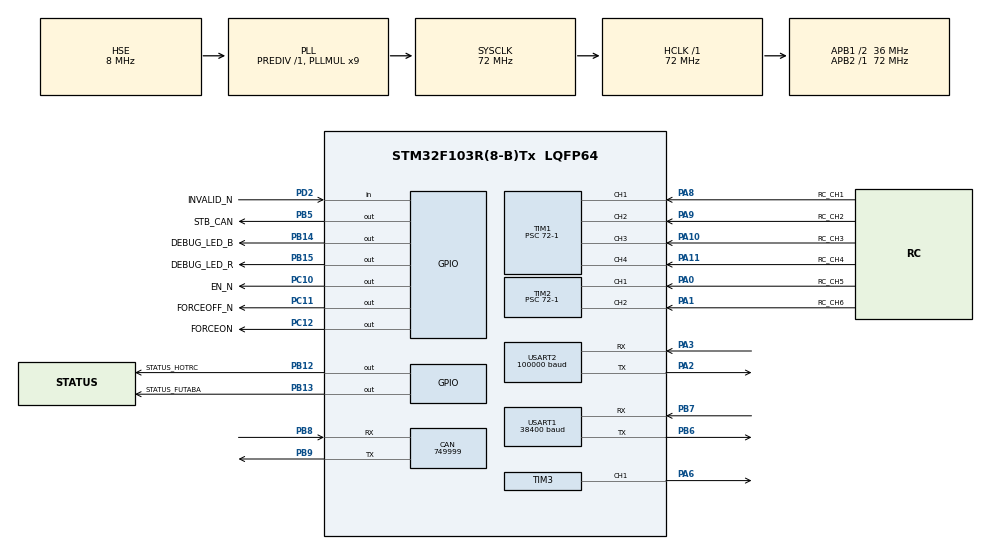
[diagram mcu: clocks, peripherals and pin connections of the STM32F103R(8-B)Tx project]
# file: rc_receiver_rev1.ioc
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CAN.CalculateBaudRate=749999
CAN.CalculateTimeBit=1333
CAN.CalculateTimeQuantum=444.44444444444446
Dma.Request0=USART1_RX
Dma.Request1=USART2_RX
Dma.USART1_RX.0.Direction=DMA_PERIPH_TO_MEMORY
Dma.USART1_RX.0.Instance=DMA1_Channel5
Dma.USART1_RX.0.MemDataAlignment=DMA_MDATAALIGN_BYTE
Dma.USART1_RX.0.MemInc=DMA_MINC_ENABLE
Dma.USART1_RX.0.Mode=DMA_CIRCULAR
Dma.USART1_RX.0.PeriphDataAlignment=DMA_PDATAALIGN_BYTE
Dma.USART1_RX.0.PeriphInc=DMA_PINC_DISABLE
Dma.USART1_RX.0.Priority=DMA_PRIORITY_VERY_HIGH
Dma.USART2_RX.1.Direction=DMA_PERIPH_TO_MEMORY
Dma.USART2_RX.1.Instance=DMA1_Channel6
Dma.USART2_RX.1.MemDataAlignment=DMA_MDATAALIGN_BYTE
Dma.USART2_RX.1.MemInc=DMA_MINC_ENABLE
Dma.USART2_RX.1.Mode=DMA_CIRCULAR
Dma.USART2_RX.1.PeriphDataAlignment=DMA_PDATAALIGN_BYTE
Dma.USART2_RX.1.PeriphInc=DMA_PINC_DISABLE
Dma.USART2_RX.1.Priority=DMA_PRIORITY_LOW
Mcu.Family=STM32F1
Mcu.Name=STM32F103R(8-B)Tx
Mcu.Package=LQFP64
NVIC.DMA1_Channel5_IRQn=true\:0\:0\:false\:false\:true\:false\:true\:true
NVIC.DMA1_Channel6_IRQn=true\:0\:0\:false\:false\:true\:false\:true\:true
NVIC.PriorityGroup=NVIC_PRIORITYGROUP_4
NVIC.TIM1_CC_IRQn=true\:1\:0\:true\:false\:true\:true\:true\:true
NVIC.TIM1_TRG_COM_IRQn=true\:1\:0\:true\:false\:true\:true\:true\:true
NVIC.TIM1_UP_IRQn=true\:1\:0\:true\:false\:true\:true\:true\:true
NVIC.TIM2_IRQn=true\:1\:0\:true\:false\:true\:true\:true\:true
NVIC.TIM4_IRQn=true\:0\:0\:false\:false\:true\:true\:true\:true
NVIC.USART1_IRQn=true\:0\:0\:false\:false\:true\:true\:true\:true
NVIC.USART2_IRQn=true\:0\:0\:false\:false\:true\:true\:true\:true
PA0-WKUP.GPIO_Label=RC_CH5
PA0-WKUP.GPIO_PuPd=GPIO_PULLDOWN
PA0-WKUP.Signal=S_TIM2_CH1_ETR
PA1.GPIO_Label=RC_CH6
PA1.GPIO_PuPd=GPIO_PULLDOWN
PA1.Signal=S_TIM2_CH2
PA10.GPIO_Label=RC_CH3
PA10.GPIO_PuPd=GPIO_PULLDOWN
PA10.Signal=S_TIM1_CH3
PA11.GPIO_Label=RC_CH4
PA11.GPIO_PuPd=GPIO_PULLDOWN
PA11.Signal=S_TIM1_CH4
PA13.Mode=JTAG_4_pins
PA13.Signal=SYS_JTMS-SWDIO
PA14.Mode=JTAG_4_pins
PA14.Signal=SYS_JTCK-SWCLK
PA15.Mode=JTAG_4_pins
PA15.Signal=SYS_JTDI
PA2.Mode=Asynchronous
PA2.Signal=USART2_TX
PA3.GPIO_PuPd=GPIO_PULLUP
PA3.Mode=Asynchronous
PA3.Signal=USART2_RX
PA6.Signal=S_TIM3_CH1
PA8.GPIO_Label=RC_CH1
PA8.GPIO_PuPd=GPIO_PULLDOWN
PA8.Signal=S_TIM1_CH1
PA9.GPIO_Label=RC_CH2
PA9.GPIO_PuPd=GPIO_PULLDOWN
PA9.Signal=S_TIM1_CH2
PB12.GPIO_Label=STATUS_HOTRC
PB12.Signal=GPIO_Output
PB13.GPIO_Label=STATUS_FUTABA
PB13.Signal=GPIO_Output
PB14.GPIO_Label=DEBUG_LED_B
PB14.Signal=GPIO_Output
PB15.GPIO_Label=DEBUG_LED_R
PB15.Signal=GPIO_Output
PB3.Mode=JTAG_4_pins
PB3.Signal=SYS_JTDO-TRACESWO
PB5.GPIO_Label=STB_CAN
PB5.Signal=GPIO_Output
PB6.GPIO_Speed=GPIO_SPEED_FREQ_LOW
PB6.Mode=Asynchronous
PB6.Signal=USART1_TX
PB7.GPIO_PuPd=GPIO_NOPULL
PB7.Mode=Asynchronous
PB7.Signal=USART1_RX
PB8.Mode=CAN_Activate
PB8.Signal=CAN_RX
PB9.Mode=CAN_Activate
PB9.Signal=CAN_TX
PC10.GPIO_Label=EN_N
PC10.Signal=GPIO_Output
PC11.GPIO_Label=FORCEOFF_N
PC11.Signal=GPIO_Output
PC12.GPIO_Label=FORCEON
PC12.Signal=GPIO_Output
PD0-OSC_IN.Mode=HSE-External-Oscillator
PD0-OSC_IN.Signal=RCC_OSC_IN
PD1-OSC_OUT.Mode=HSE-External-Oscillator
PD1-OSC_OUT.Signal=RCC_OSC_OUT
PD2.GPIO_Label=INVALID_N
PD2.Signal=GPIO_Input
ProjectManager.HeapSize=0x200
ProjectManager.StackSize=0x400
ProjectManager.TargetToolchain=STM32CubeIDE
RCC.AHBFreq_Value=72000000
RCC.APB1CLKDivider=RCC_HCLK_DIV2
RCC.APB1Freq_Value=36000000
RCC.APB1TimFreq_Value=72000000
RCC.APB2Freq_Value=72000000
RCC.APB2TimFreq_Value=72000000
RCC.HCLKFreq_Value=72000000
RCC.PLLMUL=RCC_PLL_MUL9
RCC.PLLSourceVirtual=RCC_PLLSOURCE_HSE
RCC.SYSCLKFreq_VALUE=72000000
RCC.SYSCLKSource=RCC_SYSCLKSOURCE_PLLCLK
RCC.USBFreq_Value=72000000
SH.S_TIM1_CH1.0=TIM1_CH1,Input_Capture1_from_TI1
SH.S_TIM1_CH2.0=TIM1_CH2,Input_Capture2_from_TI2
SH.S_TIM1_CH3.0=TIM1_CH3,Input_Capture3_from_TI3
SH.S_TIM1_CH4.0=TIM1_CH4,Input_Capture4_from_TI4
SH.S_TIM2_CH1_ETR.0=TIM2_CH1,Input_Capture1_from_TI1
SH.S_TIM2_CH2.0=TIM2_CH2,Input_Capture2_from_TI2
SH.S_TIM3_CH1.0=TIM3_CH1,PWM Generation1 CH1
TIM1.Channel-Input_Capture1_from_TI1=TIM_CHANNEL_1
TIM1.Channel-Input_Capture2_from_TI2=TIM_CHANNEL_2
TIM1.Channel-Input_Capture3_from_TI3=TIM_CHANNEL_3
TIM1.Channel-Input_Capture4_from_TI4=TIM_CHANNEL_4
TIM1.ICPolarity_CH1=TIM_INPUTCHANNELPOLARITY_RISING
TIM1.ICPolarity_CH2=TIM_INPUTCHANNELPOLARITY_RISING
TIM1.ICPolarity_CH3=TIM_INPUTCHANNELPOLARITY_RISING
TIM1.Prescaler=72-1
TIM2.Channel-Input_Capture1_from_TI1=TIM_CHANNEL_1
TIM2.Channel-Input_Capture2_from_TI2=TIM_CHANNEL_2
TIM2.Prescaler=72-1
TIM3.Channel-PWM\ Generation1\ CH1=TIM_CHANNEL_1
TIM4.Period=10000-1
TIM4.Prescaler=72-1
USART1.BaudRate=38400
USART1.VirtualMode=VM_ASYNC
USART2.BaudRate=100000
USART2.Mode=MODE_RX
USART2.Parity=PARITY_EVEN
USART2.StopBits=STOPBITS_2
USART2.VirtualMode=VM_ASYNC
USART2.WordLength=WORDLENGTH_9B
VP_TIM1_VS_ClockSourceINT.Mode=Internal
VP_TIM4_VS_ClockSourceINT.Mode=Internal
board=custom

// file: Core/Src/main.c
/* USER CODE BEGIN Header */
/**
 ******************************************************************************
 * @file           : main.c
 * @brief          : Main program body
 ******************************************************************************
 * @attention
 *
 * Copyright (c) 2023 STMicroelectronics.
 * All rights reserved.
 *
 * This software is licensed under terms that can be found in the LICENSE file
 * in the root directory of this software component.
 * If no LICENSE file comes with this software, it is provided AS-IS.
 *
 ******************************************************************************
 */
/* USER CODE END Header */
#include "main.h"

/* USER CODE BEGIN Includes */
#include "rc_main.h"
/* USER CODE END Includes */

CAN_HandleTypeDef hcan;

TIM_HandleTypeDef htim1;
TIM_HandleTypeDef htim2;
TIM_HandleTypeDef htim3;
TIM_HandleTypeDef htim4;

UART_HandleTypeDef huart1;
UART_HandleTypeDef huart2;
DMA_HandleTypeDef hdma_usart1_rx;
DMA_HandleTypeDef hdma_usart2_rx;

void SystemClock_Config(void);
static void MX_GPIO_Init(void);
static void MX_DMA_Init(void);
static void MX_CAN_Init(void);
static void MX_TIM1_Init(void);
static void MX_USART1_UART_Init(void);
static void MX_USART2_UART_Init(void);
static void MX_TIM4_Init(void);
static void MX_TIM2_Init(void);
static void MX_TIM3_Init(void);

/* USER CODE BEGIN 0 */
#ifdef __cplusplus
extern "C" int _write(int32_t file, uint8_t *ptr, int32_t len) {
#else
	int _write(int fd, char *ptr, int len){
#endif
    if( HAL_UART_Transmit(&UART_RS232, (uint8_t *)ptr, len, len) == HAL_OK ) return len;
    else return 0;
}

/* USER CODE END 0 */

int main(void)
{

  /* MCU Configuration--------------------------------------------------------*/

  /* Reset of all peripherals, Initializes the Flash interface and the Systick. */
  HAL_Init();

  /* Configure the system clock */
  SystemClock_Config();

  /* Initialize all configured peripherals */
  MX_GPIO_Init();
  MX_DMA_Init();
  MX_CAN_Init();
  MX_TIM1_Init();
  MX_USART1_UART_Init();
  MX_USART2_UART_Init();
  MX_TIM4_Init();
  MX_TIM2_Init();
  MX_TIM3_Init();
  /* USER CODE BEGIN 2 */
  HAL_TIM_Base_Start_IT(&htim4);  // Start main state machine loop (1khz)
  InitReceiveUart();  // Start UART for Futaba and External controller
  HotrcInitializedHw();  // Start timer input capture for HOTRC

  Rs232Sw(true);
  /* USER CODE END 2 */

  /* Infinite loop */
  while (1)
  {

  }
}

void SystemClock_Config(void)
{
  RCC_OscInitTypeDef RCC_OscInitStruct = {0};
  RCC_ClkInitTypeDef RCC_ClkInitStruct = {0};

  /** Initializes the RCC Oscillators according to the specified parameters
  * in the RCC_OscInitTypeDef structure.
  */
  RCC_OscInitStruct.OscillatorType = RCC_OSCILLATORTYPE_HSE;
  RCC_OscInitStruct.HSEState = RCC_HSE_ON;
  RCC_OscInitStruct.HSEPredivValue = RCC_HSE_PREDIV_DIV1;
  RCC_OscInitStruct.HSIState = RCC_HSI_ON;
  RCC_OscInitStruct.PLL.PLLState = RCC_PLL_ON;
  RCC_OscInitStruct.PLL.PLLSource = RCC_PLLSOURCE_HSE;
  RCC_OscInitStruct.PLL.PLLMUL = RCC_PLL_MUL9;
  if (HAL_RCC_OscConfig(&RCC_OscInitStruct) != HAL_OK)
  {
    Error_Handler();
  }

  /** Initializes the CPU, AHB and APB buses clocks
  */
  RCC_ClkInitStruct.ClockType = RCC_CLOCKTYPE_HCLK|RCC_CLOCKTYPE_SYSCLK
                              |RCC_CLOCKTYPE_PCLK1|RCC_CLOCKTYPE_PCLK2;
  RCC_ClkInitStruct.SYSCLKSource = RCC_SYSCLKSOURCE_PLLCLK;
  RCC_ClkInitStruct.AHBCLKDivider = RCC_SYSCLK_DIV1;
  RCC_ClkInitStruct.APB1CLKDivider = RCC_HCLK_DIV2;
  RCC_ClkInitStruct.APB2CLKDivider = RCC_HCLK_DIV1;

  if (HAL_RCC_ClockConfig(&RCC_ClkInitStruct, FLASH_LATENCY_2) != HAL_OK)
  {
    Error_Handler();
  }
}

static void MX_CAN_Init(void)
{

  hcan.Instance = CAN1;
  hcan.Init.Prescaler = 16;
  hcan.Init.Mode = CAN_MODE_NORMAL;
  hcan.Init.SyncJumpWidth = CAN_SJW_1TQ;
  hcan.Init.TimeSeg1 = CAN_BS1_1TQ;
  hcan.Init.TimeSeg2 = CAN_BS2_1TQ;
  hcan.Init.TimeTriggeredMode = DISABLE;
  hcan.Init.AutoBusOff = DISABLE;
  hcan.Init.AutoWakeUp = DISABLE;
  hcan.Init.AutoRetransmission = DISABLE;
  hcan.Init.ReceiveFifoLocked = DISABLE;
  hcan.Init.TransmitFifoPriority = DISABLE;
  if (HAL_CAN_Init(&hcan) != HAL_OK)
  {
    Error_Handler();
  }

}

static void MX_TIM1_Init(void)
{

  TIM_ClockConfigTypeDef sClockSourceConfig = {0};
  TIM_MasterConfigTypeDef sMasterConfig = {0};

  htim1.Instance = TIM1;
  htim1.Init.Prescaler = 72-1;
  htim1.Init.CounterMode = TIM_COUNTERMODE_UP;
  htim1.Init.Period = 10000-1;
  htim1.Init.ClockDivision = TIM_CLOCKDIVISION_DIV1;
  htim1.Init.RepetitionCounter = 0;
  htim1.Init.AutoReloadPreload = TIM_AUTORELOAD_PRELOAD_DISABLE;
  if (HAL_TIM_Base_Init(&htim1) != HAL_OK)
  {
    Error_Handler();
  }
  sClockSourceConfig.ClockSource = TIM_CLOCKSOURCE_INTERNAL;
  if (HAL_TIM_ConfigClockSource(&htim1, &sClockSourceConfig) != HAL_OK)
  {
    Error_Handler();
  }
  sMasterConfig.MasterOutputTrigger = TIM_TRGO_RESET;
  sMasterConfig.MasterSlaveMode = TIM_MASTERSLAVEMODE_DISABLE;
  if (HAL_TIMEx_MasterConfigSynchronization(&htim1, &sMasterConfig) != HAL_OK)
  {
    Error_Handler();
  }

}

static void MX_TIM2_Init(void)
{

  TIM_ClockConfigTypeDef sClockSourceConfig = {0};
  TIM_MasterConfigTypeDef sMasterConfig = {0};

  htim2.Instance = TIM2;
  htim2.Init.Prescaler = 72-1;
  htim2.Init.CounterMode = TIM_COUNTERMODE_UP;
  htim2.Init.Period = 10000-1;
  htim2.Init.ClockDivision = TIM_CLOCKDIVISION_DIV1;
  htim2.Init.AutoReloadPreload = TIM_AUTORELOAD_PRELOAD_DISABLE;
  if (HAL_TIM_Base_Init(&htim2) != HAL_OK)
  {
    Error_Handler();
  }
  sClockSourceConfig.ClockSource = TIM_CLOCKSOURCE_INTERNAL;
  if (HAL_TIM_ConfigClockSource(&htim2, &sClockSourceConfig) != HAL_OK)
  {
    Error_Handler();
  }
  sMasterConfig.MasterOutputTrigger = TIM_TRGO_RESET;
  sMasterConfig.MasterSlaveMode = TIM_MASTERSLAVEMODE_DISABLE;
  if (HAL_TIMEx_MasterConfigSynchronization(&htim2, &sMasterConfig) != HAL_OK)
  {
    Error_Handler();
  }

}

static void MX_TIM3_Init(void)
{

  TIM_ClockConfigTypeDef sClockSourceConfig = {0};
  TIM_MasterConfigTypeDef sMasterConfig = {0};

  htim3.Instance = TIM3;
  htim3.Init.Prescaler = 72-1;
  htim3.Init.CounterMode = TIM_COUNTERMODE_UP;
  htim3.Init.Period = 10000-1;
  htim3.Init.ClockDivision = TIM_CLOCKDIVISION_DIV1;
  htim3.Init.AutoReloadPreload = TIM_AUTORELOAD_PRELOAD_DISABLE;
  if (HAL_TIM_Base_Init(&htim3) != HAL_OK)
  {
    Error_Handler();
  }
  sClockSourceConfig.ClockSource = TIM_CLOCKSOURCE_INTERNAL;
  if (HAL_TIM_ConfigClockSource(&htim3, &sClockSourceConfig) != HAL_OK)
  {
    Error_Handler();
  }
  sMasterConfig.MasterOutputTrigger = TIM_TRGO_RESET;
  sMasterConfig.MasterSlaveMode = TIM_MASTERSLAVEMODE_DISABLE;
  if (HAL_TIMEx_MasterConfigSynchronization(&htim3, &sMasterConfig) != HAL_OK)
  {
    Error_Handler();
  }

}

static void MX_TIM4_Init(void)
{

  TIM_ClockConfigTypeDef sClockSourceConfig = {0};
  TIM_MasterConfigTypeDef sMasterConfig = {0};

  htim4.Instance = TIM4;
  htim4.Init.Prescaler = 72-1;
  htim4.Init.CounterMode = TIM_COUNTERMODE_UP;
  htim4.Init.Period = 10000-1;
  htim4.Init.ClockDivision = TIM_CLOCKDIVISION_DIV1;
  htim4.Init.AutoReloadPreload = TIM_AUTORELOAD_PRELOAD_DISABLE;
  if (HAL_TIM_Base_Init(&htim4) != HAL_OK)
  {
    Error_Handler();
  }
  sClockSourceConfig.ClockSource = TIM_CLOCKSOURCE_INTERNAL;
  if (HAL_TIM_ConfigClockSource(&htim4, &sClockSourceConfig) != HAL_OK)
  {
    Error_Handler();
  }
  sMasterConfig.MasterOutputTrigger = TIM_TRGO_RESET;
  sMasterConfig.MasterSlaveMode = TIM_MASTERSLAVEMODE_DISABLE;
  if (HAL_TIMEx_MasterConfigSynchronization(&htim4, &sMasterConfig) != HAL_OK)
  {
    Error_Handler();
  }

}

static void MX_USART1_UART_Init(void)
{

  huart1.Instance = USART1;
  huart1.Init.BaudRate = 115200;
  huart1.Init.WordLength = UART_WORDLENGTH_8B;
  huart1.Init.StopBits = UART_STOPBITS_1;
  huart1.Init.Parity = UART_PARITY_NONE;
  huart1.Init.Mode = UART_MODE_TX_RX;
  huart1.Init.HwFlowCtl = UART_HWCONTROL_NONE;
  huart1.Init.OverSampling = UART_OVERSAMPLING_16;
  if (HAL_UART_Init(&huart1) != HAL_OK)
  {
    Error_Handler();
  }

}

static void MX_USART2_UART_Init(void)
{

  huart2.Instance = USART2;
  huart2.Init.BaudRate = 100000;
  huart2.Init.WordLength = UART_WORDLENGTH_9B;
  huart2.Init.StopBits = UART_STOPBITS_2;
  huart2.Init.Parity = UART_PARITY_EVEN;
  huart2.Init.Mode = UART_MODE_RX;
  huart2.Init.HwFlowCtl = UART_HWCONTROL_NONE;
  huart2.Init.OverSampling = UART_OVERSAMPLING_16;
  if (HAL_UART_Init(&huart2) != HAL_OK)
  {
    Error_Handler();
  }

}

static void MX_DMA_Init(void)
{

  /* DMA controller clock enable */
  __HAL_RCC_DMA1_CLK_ENABLE();

  /* DMA interrupt init */
  /* DMA1_Channel5_IRQn interrupt configuration */
  HAL_NVIC_SetPriority(DMA1_Channel5_IRQn, 0, 0);
  HAL_NVIC_EnableIRQ(DMA1_Channel5_IRQn);
  /* DMA1_Channel6_IRQn interrupt configuration */
  HAL_NVIC_SetPriority(DMA1_Channel6_IRQn, 0, 0);
  HAL_NVIC_EnableIRQ(DMA1_Channel6_IRQn);

}

static void MX_GPIO_Init(void)
{
  GPIO_InitTypeDef GPIO_InitStruct = {0};

  /* GPIO Ports Clock Enable */
  __HAL_RCC_GPIOD_CLK_ENABLE();
  __HAL_RCC_GPIOA_CLK_ENABLE();
  __HAL_RCC_GPIOB_CLK_ENABLE();
  __HAL_RCC_GPIOC_CLK_ENABLE();

  /*Configure GPIO pin Output Level */
  HAL_GPIO_WritePin(GPIOB, STATUS_HOTRC_Pin|STATUS_FUTABA_Pin|DEBUG_LED_B_Pin|DEBUG_LED_R_Pin
                          |STB_CAN_Pin, GPIO_PIN_RESET);

  /*Configure GPIO pin Output Level */
  HAL_GPIO_WritePin(GPIOC, EN_N_Pin|FORCEOFF_N_Pin|FORCEON_Pin, GPIO_PIN_RESET);

  /*Configure GPIO pins : PA0 PA1 PA11 */
  GPIO_InitStruct.Pin = GPIO_PIN_0|GPIO_PIN_1|GPIO_PIN_11;
  GPIO_InitStruct.Mode = GPIO_MODE_IT_FALLING;
  GPIO_InitStruct.Pull = GPIO_NOPULL;
  HAL_GPIO_Init(GPIOA, &GPIO_InitStruct);

  /*Configure GPIO pins : STATUS_HOTRC_Pin STATUS_FUTABA_Pin DEBUG_LED_B_Pin DEBUG_LED_R_Pin
                           STB_CAN_Pin */
  GPIO_InitStruct.Pin = STATUS_HOTRC_Pin|STATUS_FUTABA_Pin|DEBUG_LED_B_Pin|DEBUG_LED_R_Pin
                          |STB_CAN_Pin;
  GPIO_InitStruct.Mode = GPIO_MODE_OUTPUT_PP;
  GPIO_InitStruct.Pull = GPIO_NOPULL;
  GPIO_InitStruct.Speed = GPIO_SPEED_FREQ_LOW;
  HAL_GPIO_Init(GPIOB, &GPIO_InitStruct);

  /*Configure GPIO pins : PA8 PA9 PA10 */
  GPIO_InitStruct.Pin = GPIO_PIN_8|GPIO_PIN_9|GPIO_PIN_10;
  GPIO_InitStruct.Mode = GPIO_MODE_IT_RISING_FALLING;
  GPIO_InitStruct.Pull = GPIO_NOPULL;
  HAL_GPIO_Init(GPIOA, &GPIO_InitStruct);

  /*Configure GPIO pins : EN_N_Pin FORCEOFF_N_Pin FORCEON_Pin */
  GPIO_InitStruct.Pin = EN_N_Pin|FORCEOFF_N_Pin|FORCEON_Pin;
  GPIO_InitStruct.Mode = GPIO_MODE_OUTPUT_PP;
  GPIO_InitStruct.Pull = GPIO_NOPULL;
  GPIO_InitStruct.Speed = GPIO_SPEED_FREQ_LOW;
  HAL_GPIO_Init(GPIOC, &GPIO_InitStruct);

  /*Configure GPIO pin : INVALID_N_Pin_Pin */
  GPIO_InitStruct.Pin = INVALID_N_Pin_Pin;
  GPIO_InitStruct.Mode = GPIO_MODE_INPUT;
  GPIO_InitStruct.Pull = GPIO_NOPULL;
  HAL_GPIO_Init(INVALID_N_Pin_GPIO_Port, &GPIO_InitStruct);

  /* EXTI interrupt init*/
  HAL_NVIC_SetPriority(EXTI0_IRQn, 0, 0);
  HAL_NVIC_EnableIRQ(EXTI0_IRQn);

  HAL_NVIC_SetPriority(EXTI1_IRQn, 0, 0);
  HAL_NVIC_EnableIRQ(EXTI1_IRQn);

  HAL_NVIC_SetPriority(EXTI9_5_IRQn, 0, 0);
  HAL_NVIC_EnableIRQ(EXTI9_5_IRQn);

  HAL_NVIC_SetPriority(EXTI15_10_IRQn, 0, 0);
  HAL_NVIC_EnableIRQ(EXTI15_10_IRQn);

}

/* USER CODE BEGIN 4 */
void HAL_TIM_PeriodElapsedCallback(TIM_HandleTypeDef *htim) {

  if (htim->Instance == htim4.Instance) {
    MainStateMachine();
  }
}
/* USER CODE END 4 */

void Error_Handler(void)
{
  __disable_irq();
  while (1)
  {
  }
}
